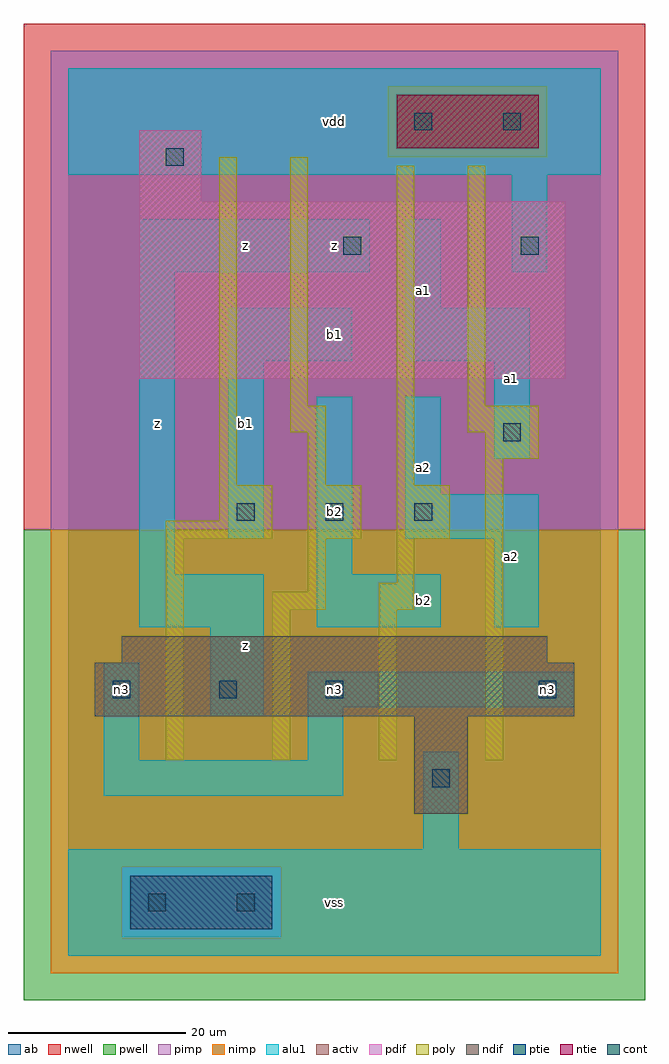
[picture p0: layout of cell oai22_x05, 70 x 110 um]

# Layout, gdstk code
import gdstk
lib = gdstk.Library(unit=1e-6, precision=1e-09)
def R(c, l, rs):  # rectangles x0, y0, x1, y1
    for r in rs: c.add(gdstk.rectangle(r[:2], r[2:], *l))
def A(c, l, x, y, w, h, nx, ny, dx, dy):  # array of equal rectangles
    R(c, l, [(x+i*dx, y+j*dy, x+i*dx+w, y+j*dy+h) for i in range(nx) for j in range(ny)])
ndif = (3, 0)
pdif = (4, 0)
ntie = (5, 0)
ptie = (6, 0)
cont = (25, 0)
pwell = (41, 0)
nwell = (42, 0)
activ = (43, 0)
pimp = (44, 0)
nimp = (45, 0)
poly = (46, 0)
alu1 = (49, 0)
ab = (63, 0)

oai22_x05 = lib.new_cell('oai22_x05')
R(oai22_x05, ndif, [(39,16,45,27), (3,27,57,33), (6,33,54,36)])
R(oai22_x05, pdif, [(8,65,56,85), (8,85,15,93)])
R(oai22_x05, ntie, [(37,91,53,97)])
R(oai22_x05, ptie, [(7,3,23,9)])
A(oai22_x05, cont, 5, 29, 2, 2, 3, 1, 12, 0)
A(oai22_x05, cont, 19, 49, 2, 2, 3, 1, 10, 0)
R(oai22_x05, cont, [(9,5,11,7), (19,5,21,7), (41,19,43,21), (53,29,55,31), (49,58,51,60), (31,79,33,81), (51,79,53,81), (11,89,13,91), (39,93,41,95), (49,93,51,95)])
R(oai22_x05, pwell, [(-5,-5,65,48)])
R(oai22_x05, nwell, [(-5,48,65,105)])
R(oai22_x05, activ, [(7,3,23,9), (39,16,45,27), (3,27,57,33), (6,33,54,36), (8,65,56,85), (8,85,15,93), (37,91,53,97)])
R(oai22_x05, pimp, [(6,2,24,10), (-2,48,62,90), (-2,90,36,98), (54,90,62,98), (-2,98,62,102)])
R(oai22_x05, nimp, [(-2,-2,62,2), (-2,2,6,10), (24,2,62,10), (-2,10,62,48), (36,90,54,98)])
R(oai22_x05, poly, [(11,22,13,47), (23,22,25,39), (35,22,37,39), (47,22,49,56), (23,39,29,41), (35,39,39,42), (27,41,29,47), (37,42,39,47), (11,47,23,49), (27,47,33,53), (37,47,43,53), (17,49,23,53), (17,53,19,90), (27,53,29,59), (37,53,39,89), (47,56,53,59), (25,59,29,62), (45,59,53,62), (25,62,27,90), (45,62,47,89)])
R(oai22_x05, alu1, [(0,0,60,12), (40,12,44,23), (4,18,31,22), (4,22,8,33), (27,22,31,28), (16,27,22,37), (27,28,57,32), (8,37,22,43), (28,37,42,43), (48,37,53,47), (8,43,12,77), (28,43,32,63), (18,47,22,67), (38,47,53,52), (38,52,42,63), (48,56,52,67), (18,67,32,73), (38,67,52,73), (38,73,42,83), (8,77,34,83), (50,77,54,88), (0,88,60,100)])
R(oai22_x05, ab, [(0,0,60,100)])
oai22_x05.add(gdstk.Label('n3', (6,30), layer=49, texttype=0))
oai22_x05.add(gdstk.Label('n3', (30,30), layer=49, texttype=0))
oai22_x05.add(gdstk.Label('n3', (54,30), layer=49, texttype=0))
oai22_x05.add(gdstk.Label('z', (10,60), layer=49, texttype=0))
oai22_x05.add(gdstk.Label('z', (20,35), layer=49, texttype=0))
oai22_x05.add(gdstk.Label('b1', (20,60), layer=49, texttype=0))
oai22_x05.add(gdstk.Label('z', (20,80), layer=49, texttype=0))
oai22_x05.add(gdstk.Label('vss', (30,6), layer=49, texttype=0))
oai22_x05.add(gdstk.Label('b2', (40,40), layer=49, texttype=0))
oai22_x05.add(gdstk.Label('b2', (30,50), layer=49, texttype=0))
oai22_x05.add(gdstk.Label('b1', (30,70), layer=49, texttype=0))
oai22_x05.add(gdstk.Label('a2', (40,55), layer=49, texttype=0))
oai22_x05.add(gdstk.Label('a1', (40,75), layer=49, texttype=0))
oai22_x05.add(gdstk.Label('z', (30,80), layer=49, texttype=0))
oai22_x05.add(gdstk.Label('vdd', (30,94), layer=49, texttype=0))
oai22_x05.add(gdstk.Label('a2', (50,45), layer=49, texttype=0))
oai22_x05.add(gdstk.Label('a1', (50,65), layer=49, texttype=0))

lib.write_gds('oai22_x05.gds')
